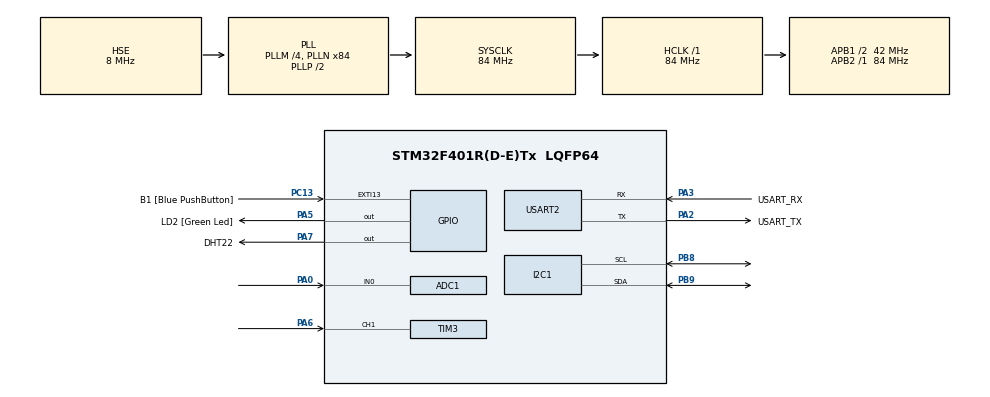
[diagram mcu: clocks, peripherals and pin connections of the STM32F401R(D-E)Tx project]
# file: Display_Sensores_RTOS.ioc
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ADC1.Channel-0\#ChannelRegularConversion=ADC_CHANNEL_0
ADC1.ContinuousConvMode=ENABLE
ADC1.DMAContinuousRequests=ENABLE
ADC1.EOCSelection=ADC_EOC_SEQ_CONV
ADC1.NbrOfConversionFlag=1
ADC1.Rank-0\#ChannelRegularConversion=1
ADC1.SamplingTime-0\#ChannelRegularConversion=ADC_SAMPLETIME_480CYCLES
ADC1.ScanConvMode=ENABLE
ADC1.master=1
Dma.ADC1.0.Direction=DMA_PERIPH_TO_MEMORY
Dma.ADC1.0.FIFOMode=DMA_FIFOMODE_DISABLE
Dma.ADC1.0.Instance=DMA2_Stream0
Dma.ADC1.0.MemDataAlignment=DMA_MDATAALIGN_WORD
Dma.ADC1.0.MemInc=DMA_MINC_ENABLE
Dma.ADC1.0.Mode=DMA_CIRCULAR
Dma.ADC1.0.PeriphDataAlignment=DMA_PDATAALIGN_WORD
Dma.ADC1.0.PeriphInc=DMA_PINC_DISABLE
Dma.ADC1.0.Priority=DMA_PRIORITY_LOW
Dma.Request0=ADC1
FREERTOS.Tasks01=defaultTask,0,128,StartDefaultTask,Default,NULL,Dynamic,NULL,NULL
FREERTOS.configUSE_NEWLIB_REENTRANT=1
I2C1.I2C_Mode=I2C_Fast
Mcu.Family=STM32F4
Mcu.Name=STM32F401R(D-E)Tx
Mcu.Package=LQFP64
NVIC.DMA2_Stream0_IRQn=true\:5\:0\:false\:false\:true\:true\:false\:true\:true
NVIC.PriorityGroup=NVIC_PRIORITYGROUP_4
NVIC.TIM1_UP_TIM10_IRQn=true\:15\:0\:false\:false\:true\:false\:false\:true\:true
NVIC.TIM2_IRQn=true\:5\:0\:false\:false\:true\:true\:true\:true\:true
NVIC.TIM3_IRQn=true\:5\:0\:false\:false\:true\:true\:true\:true\:true
NVIC.TIM4_IRQn=true\:5\:0\:false\:false\:true\:true\:true\:true\:true
NVIC.TimeBase=TIM1_UP_TIM10_IRQn
NVIC.TimeBaseIP=TIM1
PA0-WKUP.Signal=ADCx_IN0
PA13.GPIO_Label=TMS
PA13.Mode=Serial_Wire
PA13.Signal=SYS_JTMS-SWDIO
PA14.GPIO_Label=TCK
PA14.Mode=Serial_Wire
PA14.Signal=SYS_JTCK-SWCLK
PA2.GPIO_Label=USART_TX
PA2.GPIO_Mode=GPIO_MODE_AF_PP
PA2.GPIO_PuPd=GPIO_NOPULL
PA2.GPIO_Speed=GPIO_SPEED_FREQ_LOW
PA2.Mode=Asynchronous
PA2.Signal=USART2_TX
PA3.GPIO_Label=USART_RX
PA3.GPIO_Mode=GPIO_MODE_AF_PP
PA3.GPIO_PuPd=GPIO_NOPULL
PA3.GPIO_Speed=GPIO_SPEED_FREQ_LOW
PA3.Mode=Asynchronous
PA3.Signal=USART2_RX
PA5.GPIO_Label=LD2 [Green Led]
PA5.GPIO_Mode=GPIO_MODE_OUTPUT_PP
PA5.GPIO_PuPd=GPIO_NOPULL
PA5.GPIO_Speed=GPIO_SPEED_FREQ_LOW
PA5.Signal=GPIO_Output
PA6.Signal=S_TIM3_CH1
PA7.GPIO_Label=DHT22
PA7.Signal=GPIO_Output
PB3.GPIO_Label=SWO
PB3.Signal=SYS_JTDO-SWO
PB8.Mode=I2C
PB8.Signal=I2C1_SCL
PB9.Mode=I2C
PB9.Signal=I2C1_SDA
PC13-ANTI_TAMP.GPIO_Label=B1 [Blue PushButton]
PC13-ANTI_TAMP.GPIO_ModeDefaultEXTI=GPIO_MODE_IT_FALLING
PC13-ANTI_TAMP.GPIO_PuPd=GPIO_NOPULL
PC13-ANTI_TAMP.Signal=GPXTI13
PC14-OSC32_IN.Mode=LSE-External-Oscillator
PC14-OSC32_IN.Signal=RCC_OSC32_IN
PC15-OSC32_OUT.Mode=LSE-External-Oscillator
PC15-OSC32_OUT.Signal=RCC_OSC32_OUT
PH0\ -\ OSC_IN.Mode=HSE-External-Clock-Source
PH0\ -\ OSC_IN.Signal=RCC_OSC_IN
PH1\ -\ OSC_OUT.Mode=HSE-External-Clock-Source
PH1\ -\ OSC_OUT.Signal=RCC_OSC_OUT
ProjectManager.HeapSize=0x200
ProjectManager.StackSize=0x400
ProjectManager.TargetToolchain=STM32CubeIDE
RCC.48MHZClocksFreq_Value=24000000
RCC.AHBFreq_Value=84000000
RCC.APB1CLKDivider=RCC_HCLK_DIV2
RCC.APB1Freq_Value=42000000
RCC.APB1TimFreq_Value=84000000
RCC.APB2Freq_Value=84000000
RCC.APB2TimFreq_Value=84000000
RCC.CortexFreq_Value=84000000
RCC.HCLKFreq_Value=84000000
RCC.HSE_VALUE=8000000
RCC.HSI_VALUE=16000000
RCC.PLLM=4
RCC.PLLN=84
RCC.PLLQ=7
RCC.PLLSourceVirtual=RCC_PLLSOURCE_HSE
RCC.SYSCLKFreq_VALUE=84000000
RCC.SYSCLKSource=RCC_SYSCLKSOURCE_PLLCLK
RCC.VCOOutputFreq_Value=168000000
RTC.Alarm=RTC_ALARM_A
SH.ADCx_IN0.0=ADC1_IN0,IN0
SH.S_TIM3_CH1.0=TIM3_CH1,Input_Capture1_from_TI1
TIM2.AutoReloadPreload=TIM_AUTORELOAD_PRELOAD_ENABLE
TIM2.Period=2
TIM2.Prescaler=42000-1
TIM3.AutoReloadPreload=TIM_AUTORELOAD_PRELOAD_ENABLE
TIM3.Channel-Input_Capture1_from_TI1=TIM_CHANNEL_1
TIM3.ICFilter_CH1=15
TIM3.ICPolarity_CH1=TIM_INPUTCHANNELPOLARITY_BOTHEDGE
TIM3.Period=200
TIM3.Prescaler=84-1
TIM4.Period=20
TIM4.Prescaler=83
USART2.VirtualMode=VM_ASYNC
VP_FREERTOS_VS_CMSIS_V1.Mode=CMSIS_V1
VP_RTC_VS_RTC_Activate.Mode=RTC_Enabled
VP_RTC_VS_RTC_Alarm_A_Intern.Mode=Alarm A
VP_RTC_VS_RTC_Calendar.Mode=RTC_Calendar
VP_SYS_VS_tim1.Mode=TIM1
VP_TIM2_VS_ClockSourceINT.Mode=Internal
VP_TIM3_VS_ClockSourceINT.Mode=Internal
VP_TIM4_VS_ClockSourceINT.Mode=Internal
board=NUCLEO-F401RE

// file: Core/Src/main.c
/* USER CODE BEGIN Header */
/**
  ******************************************************************************
  * @file           : main.c
  * @brief          : Main program body
  ******************************************************************************
  * @attention
  *
  * Copyright (c) 2023 STMicroelectronics.
  * All rights reserved.
  *
  * This software is licensed under terms that can be found in the LICENSE file
  * in the root directory of this software component.
  * If no LICENSE file comes with this software, it is provided AS-IS.
  *
  ******************************************************************************
  */
/* USER CODE END Header */
#include "main.h"
#include "cmsis_os.h"

/* USER CODE BEGIN PTD */

typedef struct
{
	float Temperature;
	float Pressure;
	float Humidity;
	float Light;
	uint32_t AirQuality;
	float WindSpeed;
}SensedValues;

/* USER CODE END PTD */

/* USER CODE BEGIN PD */
#define CANT_PARAMETROS 6

#define MY_NETWORK "Fibertel WiFi516 2.4GHz"
#define MY_PASSWORD "00421584233"
//#define MY_NETWORK "Samsung"
//#define MY_PASSWORD "12341234"

#define THINGSPEAK_DELAY 20000 //En ms
/* USER CODE END PD */

ADC_HandleTypeDef hadc1;
DMA_HandleTypeDef hdma_adc1;

I2C_HandleTypeDef hi2c1;

RTC_HandleTypeDef hrtc;

TIM_HandleTypeDef htim2;
TIM_HandleTypeDef htim3;
TIM_HandleTypeDef htim4;

UART_HandleTypeDef huart2;

osThreadId defaultTaskHandle;
/* USER CODE BEGIN PV */

uint32_t Temp_ADC;

uint16_t readValue;

uint8_t screenBuffer[128 * 64 / 8];

uint8_t Flag_Scroll;

uint8_t Flag_Datos;

uint16_t Datos = 3000;

extern uint8_t enableCapture;

extern uint8_t start;

SemaphoreHandle_t SEM_Mediciones;

//Estructura que va a guardar todas las mediciones
SensedValues MedicionesEstacion;
float dataToSend[CANT_PARAMETROS];

//Sensor de Gas
uint32_t ConversionGasADC;

//Sensor Optico
extern uint32_t rpmCNY70;

//Sensor de Presion
extern uint8_t chipID;
extern int32_t tRaw, pRaw, hRaw;
extern uint8_t RawData[8];
float Temperature, Pressure, Humidity;

/* USER CODE END PV */

void SystemClock_Config(void);
static void MX_GPIO_Init(void);
static void MX_DMA_Init(void);
static void MX_USART2_UART_Init(void);
static void MX_I2C1_Init(void);
static void MX_TIM2_Init(void);
static void MX_RTC_Init(void);
static void MX_TIM3_Init(void);
static void MX_ADC1_Init(void);
static void MX_TIM4_Init(void);
void StartDefaultTask(void const * argument);

/* USER CODE BEGIN 0 */

void HAL_I2C_MemRxCpltCallback(I2C_HandleTypeDef *hi2c)
{
	if(hi2c == &hi2c1)
	{
		/* Calculate the Raw data for the parameters
		* Here the Pressure and Temperature are in 20 bit format and humidity in 16 bit format
		*/
		pRaw = (RawData[0]<<12)|(RawData[1]<<4)|(RawData[2]>>4);
		tRaw = (RawData[3]<<12)|(RawData[4]<<4)|(RawData[5]>>4);
		hRaw = (RawData[6]<<8)|(RawData[7]);
	}
}
/*
void HAL_TIM_IC_CaptureCallback(TIM_HandleTypeDef *htim)
{
	CNY70_FlancosUp();
}*/

void Set_Time(void)
{
	/** Initialize RTC and set the Time and Date
	*/

	RTC_TimeTypeDef sTime = {0};
	RTC_DateTypeDef sDate = {0};

	sTime.Hours = 0x0;
	sTime.Minutes = 0x0;
	sTime.Seconds = 0x0;
	sTime.DayLightSaving = RTC_DAYLIGHTSAVING_NONE;
	sTime.StoreOperation = RTC_STOREOPERATION_RESET;

	if (HAL_RTC_SetTime(&hrtc, &sTime, RTC_FORMAT_BCD) != HAL_OK)
	{
		Error_Handler();
	}

	sDate.WeekDay = RTC_WEEKDAY_MONDAY;
	sDate.Month = RTC_MONTH_JANUARY;
	sDate.Date = 0x1;
	sDate.Year = 0x0;

	if (HAL_RTC_SetDate(&hrtc, &sDate, RTC_FORMAT_BCD) != HAL_OK)
	{
		Error_Handler();
	}

	HAL_RTCEx_BKUPWrite(&hrtc, RTC_BKP_DR1, 0x32F2);
}

void Set_Alarm (void)
{

	RTC_AlarmTypeDef sAlarm = {0};

	/** Enable the Alarm A
	*/
	sAlarm.AlarmTime.Hours = 0x0;
	sAlarm.AlarmTime.Minutes = 0x0;
	sAlarm.AlarmTime.Seconds = 0x0;
	sAlarm.AlarmTime.SubSeconds = 0x0;
	sAlarm.AlarmTime.DayLightSaving = RTC_DAYLIGHTSAVING_NONE;
	sAlarm.AlarmTime.StoreOperation = RTC_STOREOPERATION_RESET;
	sAlarm.AlarmMask = RTC_ALARMMASK_NONE;
	sAlarm.AlarmSubSecondMask = RTC_ALARMSUBSECONDMASK_ALL;
	sAlarm.AlarmDateWeekDaySel = RTC_ALARMDATEWEEKDAYSEL_DATE;
	sAlarm.AlarmDateWeekDay = 0x1;
	sAlarm.Alarm = RTC_ALARM_A;

	if (HAL_RTC_SetAlarm(&hrtc, &sAlarm, RTC_FORMAT_BCD) != HAL_OK)
	{
		Error_Handler();
	}
	/* USER CODE BEGIN RTC_Init 2 */

	/* USER CODE END RTC_Init 2 */
}

void scrollUp() {
    for (int page = 0; page < 64 / 8 - 1; ++page) {
        for (int col = 0; col < 128; ++col) {
            screenBuffer[col + page * 128] = screenBuffer[col + (page + 1) * 128];
        }
    }
    // Llena la última página con nuevos datos (ajusta esto según tus necesidades)
    for (int col = 0; col < 128; ++col) {
        screenBuffer[col + (64 / 8 - 1) * 128] = 0xFF;
    }
    ssd1306_UpdateScreen();
}

void Task_Data_Display (void *pvParameters)
{
	//vTaskPrioritySet(Task_ReadSensors, tskIDLE_PRIORITY + 2);

	ssd1306_Init();

	if (HAL_RTCEx_BKUPRead(&hrtc, RTC_BKP_DR1))
	{
	  Set_Time();
	}

	Set_Alarm();

	for (int i = 0; i < 128 * 64 / 8; ++i) {
		 screenBuffer[i] = 0xFF;
	}

	HAL_TIM_Base_Start_IT(&htim2);

	while(1)
	{
		Mostrar_Datos();
	}
}

void Task_ReadSensors(void *pvParam)
{
	HAL_TIM_Base_Start_IT(&htim4);
	HAL_ADC_Start_DMA(&hadc1, &Temp_ADC, 1);

	//Chequear esto de abajo para que coincida con el IOC
	HAL_ADC_Start_DMA(&hadc1, &ConversionGasADC, 1);
	HAL_TIM_IC_Start_IT(&htim2, TIM_CHANNEL_3);
	HAL_TIM_Base_Start_IT(&htim3);

	while(1)
	{
		xSemaphoreTake(SEM_Mediciones, portMAX_DELAY);
		BME280_Measure();
		MedicionesEstacion.Pressure = Pressure;
		BH1750_ReadLight(&MedicionesEstacion.Light);
		MedicionesEstacion.AirQuality= MQ135_NivelContaminacion(ConversionGasADC);
		MedicionesEstacion.WindSpeed= CNY70_MedicionVelocidad(rpmCNY70);
		MedicionesEstacion.Temperature = LM35_Read_Temperature(Temp_ADC);
		DHT22_Read_Humidity(&MedicionesEstacion.Humidity);

		xSemaphoreGive(SEM_Mediciones);
		vTaskDelay(pdMS_TO_TICKS(1000));
	}
}

void Task_SendDataToThingspeak(void *pvParam)
{
	//Esta tarea debe ejecutarse cada 15segs como maximo
	vTaskDelay(pdMS_TO_TICKS(5000)); //Evito que entre primero esta tarea

	while(1)
	{
		xSemaphoreTake(SEM_Mediciones, portMAX_DELAY);
		dataToSend[0]= round(MedicionesEstacion.Temperature * 100)/100;
		dataToSend[1]= round(MedicionesEstacion.Humidity * 100)/100;
		dataToSend[2]= round(MedicionesEstacion.Pressure * 100)/100;
		dataToSend[3]= round(MedicionesEstacion.WindSpeed * 100)/100;
		dataToSend[4]= round(MedicionesEstacion.Light * 100)/100;
		dataToSend[5]= round(MedicionesEstacion.AirQuality * 100)/100;

		xSemaphoreGive(SEM_Mediciones);
		ESP_Send_Multi("GZ88XIL7XS30EM51", CANT_PARAMETROS, dataToSend);

		vTaskDelay(pdMS_TO_TICKS(THINGSPEAK_DELAY));
	}
}

/* USER CODE END 0 */

int main(void)
{

  /* MCU Configuration--------------------------------------------------------*/

  /* Reset of all peripherals, Initializes the Flash interface and the Systick. */
  HAL_Init();

  /* Configure the system clock */
  SystemClock_Config();

  /* Initialize all configured peripherals */
  MX_GPIO_Init();
  MX_DMA_Init();
  MX_USART2_UART_Init();
  MX_I2C1_Init();
  MX_TIM2_Init();
  MX_RTC_Init();
  MX_TIM3_Init();
  MX_ADC1_Init();
  MX_TIM4_Init();
  /* USER CODE BEGIN 2 */

  //Inicializacion BH1750
  BH1750_Init(&hi2c1);
  BH1750_SetMode(CONTINUOUS_HIGH_RES_MODE);

  //Inicializacion BMP280
  BME280_Config(OSRS_1, OSRS_4, OSRS_1, MODE_NORMAL, T_SB_0p5, IIR_16);

  //Inicializacion ESP01
  ESP_Init(MY_NETWORK, MY_PASSWORD);

  /* USER CODE END 2 */

  /* USER CODE BEGIN RTOS_SEMAPHORES */
  /* add semaphores, ... */

  SEM_Mediciones= xSemaphoreCreateBinary();
  xSemaphoreTake(SEM_Mediciones, 0);
  xSemaphoreGive(SEM_Mediciones);

  /* USER CODE END RTOS_SEMAPHORES */

  /* Create the thread(s) */
  /* definition and creation of defaultTask */
#if 0
  osThreadDef(defaultTask, StartDefaultTask, osPriorityNormal, 0, 128);
  defaultTaskHandle = osThreadCreate(osThread(defaultTask), NULL);
#endif

  /* USER CODE BEGIN RTOS_THREADS */

  xTaskCreate(Task_Data_Display, "Data_Display", configMINIMAL_STACK_SIZE * 3, NULL, tskIDLE_PRIORITY + 1, NULL);
  xTaskCreate(Task_ReadSensors, "ReadSensors", configMINIMAL_STACK_SIZE, NULL, tskIDLE_PRIORITY + 1, NULL);
  xTaskCreate(Task_SendDataToThingspeak, "SendDataToThingspeak", configMINIMAL_STACK_SIZE*5, NULL, tskIDLE_PRIORITY + 2, NULL);

  vTaskStartScheduler();

  /* USER CODE END RTOS_THREADS */

  /* Start scheduler */

#if 0
  osKernelStart();
#endif

  /* We should never get here as control is now taken by the scheduler */
  /* Infinite loop */
  while (1)
  {

  }
}

void SystemClock_Config(void)
{
  RCC_OscInitTypeDef RCC_OscInitStruct = {0};
  RCC_ClkInitTypeDef RCC_ClkInitStruct = {0};

  /** Configure the main internal regulator output voltage
  */
  __HAL_RCC_PWR_CLK_ENABLE();
  __HAL_PWR_VOLTAGESCALING_CONFIG(PWR_REGULATOR_VOLTAGE_SCALE2);

  /** Initializes the RCC Oscillators according to the specified parameters
  * in the RCC_OscInitTypeDef structure.
  */
  RCC_OscInitStruct.OscillatorType = RCC_OSCILLATORTYPE_LSI|RCC_OSCILLATORTYPE_HSE;
  RCC_OscInitStruct.HSEState = RCC_HSE_BYPASS;
  RCC_OscInitStruct.LSIState = RCC_LSI_ON;
  RCC_OscInitStruct.PLL.PLLState = RCC_PLL_ON;
  RCC_OscInitStruct.PLL.PLLSource = RCC_PLLSOURCE_HSE;
  RCC_OscInitStruct.PLL.PLLM = 4;
  RCC_OscInitStruct.PLL.PLLN = 84;
  RCC_OscInitStruct.PLL.PLLP = RCC_PLLP_DIV2;
  RCC_OscInitStruct.PLL.PLLQ = 7;
  if (HAL_RCC_OscConfig(&RCC_OscInitStruct) != HAL_OK)
  {
    Error_Handler();
  }

  /** Initializes the CPU, AHB and APB buses clocks
  */
  RCC_ClkInitStruct.ClockType = RCC_CLOCKTYPE_HCLK|RCC_CLOCKTYPE_SYSCLK
                              |RCC_CLOCKTYPE_PCLK1|RCC_CLOCKTYPE_PCLK2;
  RCC_ClkInitStruct.SYSCLKSource = RCC_SYSCLKSOURCE_PLLCLK;
  RCC_ClkInitStruct.AHBCLKDivider = RCC_SYSCLK_DIV1;
  RCC_ClkInitStruct.APB1CLKDivider = RCC_HCLK_DIV2;
  RCC_ClkInitStruct.APB2CLKDivider = RCC_HCLK_DIV1;

  if (HAL_RCC_ClockConfig(&RCC_ClkInitStruct, FLASH_LATENCY_2) != HAL_OK)
  {
    Error_Handler();
  }
}

static void MX_ADC1_Init(void)
{

  ADC_ChannelConfTypeDef sConfig = {0};

  /** Configure the global features of the ADC (Clock, Resolution, Data Alignment and number of conversion)
  */
  hadc1.Instance = ADC1;
  hadc1.Init.ClockPrescaler = ADC_CLOCK_SYNC_PCLK_DIV4;
  hadc1.Init.Resolution = ADC_RESOLUTION_12B;
  hadc1.Init.ScanConvMode = ENABLE;
  hadc1.Init.ContinuousConvMode = ENABLE;
  hadc1.Init.DiscontinuousConvMode = DISABLE;
  hadc1.Init.ExternalTrigConvEdge = ADC_EXTERNALTRIGCONVEDGE_NONE;
  hadc1.Init.ExternalTrigConv = ADC_SOFTWARE_START;
  hadc1.Init.DataAlign = ADC_DATAALIGN_RIGHT;
  hadc1.Init.NbrOfConversion = 1;
  hadc1.Init.DMAContinuousRequests = ENABLE;
  hadc1.Init.EOCSelection = ADC_EOC_SEQ_CONV;
  if (HAL_ADC_Init(&hadc1) != HAL_OK)
  {
    Error_Handler();
  }

  /** Configure for the selected ADC regular channel its corresponding rank in the sequencer and its sample time.
  */
  sConfig.Channel = ADC_CHANNEL_0;
  sConfig.Rank = 1;
  sConfig.SamplingTime = ADC_SAMPLETIME_480CYCLES;
  if (HAL_ADC_ConfigChannel(&hadc1, &sConfig) != HAL_OK)
  {
    Error_Handler();
  }

}

static void MX_I2C1_Init(void)
{

  hi2c1.Instance = I2C1;
  hi2c1.Init.ClockSpeed = 400000;
  hi2c1.Init.DutyCycle = I2C_DUTYCYCLE_2;
  hi2c1.Init.OwnAddress1 = 0;
  hi2c1.Init.AddressingMode = I2C_ADDRESSINGMODE_7BIT;
  hi2c1.Init.DualAddressMode = I2C_DUALADDRESS_DISABLE;
  hi2c1.Init.OwnAddress2 = 0;
  hi2c1.Init.GeneralCallMode = I2C_GENERALCALL_DISABLE;
  hi2c1.Init.NoStretchMode = I2C_NOSTRETCH_DISABLE;
  if (HAL_I2C_Init(&hi2c1) != HAL_OK)
  {
    Error_Handler();
  }

}

static void MX_RTC_Init(void)
{

  RTC_TimeTypeDef sTime = {0};
  RTC_DateTypeDef sDate = {0};
  RTC_AlarmTypeDef sAlarm = {0};

  /** Initialize RTC Only
  */
  hrtc.Instance = RTC;
  hrtc.Init.HourFormat = RTC_HOURFORMAT_24;
  hrtc.Init.AsynchPrediv = 127;
  hrtc.Init.SynchPrediv = 255;
  hrtc.Init.OutPut = RTC_OUTPUT_DISABLE;
  hrtc.Init.OutPutPolarity = RTC_OUTPUT_POLARITY_HIGH;
  hrtc.Init.OutPutType = RTC_OUTPUT_TYPE_OPENDRAIN;
  if (HAL_RTC_Init(&hrtc) != HAL_OK)
  {
    Error_Handler();
  }

  /** Initialize RTC and set the Time and Date
  */
  sTime.Hours = 0x0;
  sTime.Minutes = 0x0;
  sTime.Seconds = 0x0;
  sTime.DayLightSaving = RTC_DAYLIGHTSAVING_NONE;
  sTime.StoreOperation = RTC_STOREOPERATION_RESET;
  if (HAL_RTC_SetTime(&hrtc, &sTime, RTC_FORMAT_BCD) != HAL_OK)
  {
    Error_Handler();
  }
  sDate.WeekDay = RTC_WEEKDAY_MONDAY;
  sDate.Month = RTC_MONTH_JANUARY;
  sDate.Date = 0x1;
  sDate.Year = 0x0;

  if (HAL_RTC_SetDate(&hrtc, &sDate, RTC_FORMAT_BCD) != HAL_OK)
  {
    Error_Handler();
  }

  /** Enable the Alarm A
  */
  sAlarm.AlarmTime.Hours = 0x0;
  sAlarm.AlarmTime.Minutes = 0x0;
  sAlarm.AlarmTime.Seconds = 0x0;
  sAlarm.AlarmTime.SubSeconds = 0x0;
  sAlarm.AlarmTime.DayLightSaving = RTC_DAYLIGHTSAVING_NONE;
  sAlarm.AlarmTime.StoreOperation = RTC_STOREOPERATION_RESET;
  sAlarm.AlarmMask = RTC_ALARMMASK_NONE;
  sAlarm.AlarmSubSecondMask = RTC_ALARMSUBSECONDMASK_ALL;
  sAlarm.AlarmDateWeekDaySel = RTC_ALARMDATEWEEKDAYSEL_DATE;
  sAlarm.AlarmDateWeekDay = 0x1;
  sAlarm.Alarm = RTC_ALARM_A;
  if (HAL_RTC_SetAlarm(&hrtc, &sAlarm, RTC_FORMAT_BCD) != HAL_OK)
  {
    Error_Handler();
  }

}

static void MX_TIM2_Init(void)
{

  TIM_ClockConfigTypeDef sClockSourceConfig = {0};
  TIM_MasterConfigTypeDef sMasterConfig = {0};

  htim2.Instance = TIM2;
  htim2.Init.Prescaler = 42000-1;
  htim2.Init.CounterMode = TIM_COUNTERMODE_UP;
  htim2.Init.Period = 2;
  htim2.Init.ClockDivision = TIM_CLOCKDIVISION_DIV1;
  htim2.Init.AutoReloadPreload = TIM_AUTORELOAD_PRELOAD_ENABLE;
  if (HAL_TIM_Base_Init(&htim2) != HAL_OK)
  {
    Error_Handler();
  }
  sClockSourceConfig.ClockSource = TIM_CLOCKSOURCE_INTERNAL;
  if (HAL_TIM_ConfigClockSource(&htim2, &sClockSourceConfig) != HAL_OK)
  {
    Error_Handler();
  }
  sMasterConfig.MasterOutputTrigger = TIM_TRGO_RESET;
  sMasterConfig.MasterSlaveMode = TIM_MASTERSLAVEMODE_DISABLE;
  if (HAL_TIMEx_MasterConfigSynchronization(&htim2, &sMasterConfig) != HAL_OK)
  {
    Error_Handler();
  }

}

static void MX_TIM3_Init(void)
{

  TIM_ClockConfigTypeDef sClockSourceConfig = {0};
  TIM_MasterConfigTypeDef sMasterConfig = {0};
  TIM_IC_InitTypeDef sConfigIC = {0};

  htim3.Instance = TIM3;
  htim3.Init.Prescaler = 84-1;
  htim3.Init.CounterMode = TIM_COUNTERMODE_UP;
  htim3.Init.Period = 200;
  htim3.Init.ClockDivision = TIM_CLOCKDIVISION_DIV1;
  htim3.Init.AutoReloadPreload = TIM_AUTORELOAD_PRELOAD_ENABLE;
  if (HAL_TIM_Base_Init(&htim3) != HAL_OK)
  {
    Error_Handler();
  }
  sClockSourceConfig.ClockSource = TIM_CLOCKSOURCE_INTERNAL;
  if (HAL_TIM_ConfigClockSource(&htim3, &sClockSourceConfig) != HAL_OK)
  {
    Error_Handler();
  }
  if (HAL_TIM_IC_Init(&htim3) != HAL_OK)
  {
    Error_Handler();
  }
  sMasterConfig.MasterOutputTrigger = TIM_TRGO_RESET;
  sMasterConfig.MasterSlaveMode = TIM_MASTERSLAVEMODE_DISABLE;
  if (HAL_TIMEx_MasterConfigSynchronization(&htim3, &sMasterConfig) != HAL_OK)
  {
    Error_Handler();
  }
  sConfigIC.ICPolarity = TIM_INPUTCHANNELPOLARITY_BOTHEDGE;
  sConfigIC.ICSelection = TIM_ICSELECTION_DIRECTTI;
  sConfigIC.ICPrescaler = TIM_ICPSC_DIV1;
  sConfigIC.ICFilter = 15;
  if (HAL_TIM_IC_ConfigChannel(&htim3, &sConfigIC, TIM_CHANNEL_1) != HAL_OK)
  {
    Error_Handler();
  }

}

static void MX_TIM4_Init(void)
{

  TIM_ClockConfigTypeDef sClockSourceConfig = {0};
  TIM_MasterConfigTypeDef sMasterConfig = {0};

  htim4.Instance = TIM4;
  htim4.Init.Prescaler = 83;
  htim4.Init.CounterMode = TIM_COUNTERMODE_UP;
  htim4.Init.Period = 20;
  htim4.Init.ClockDivision = TIM_CLOCKDIVISION_DIV1;
  htim4.Init.AutoReloadPreload = TIM_AUTORELOAD_PRELOAD_DISABLE;
  if (HAL_TIM_Base_Init(&htim4) != HAL_OK)
  {
    Error_Handler();
  }
  sClockSourceConfig.ClockSource = TIM_CLOCKSOURCE_INTERNAL;
  if (HAL_TIM_ConfigClockSource(&htim4, &sClockSourceConfig) != HAL_OK)
  {
    Error_Handler();
  }
  sMasterConfig.MasterOutputTrigger = TIM_TRGO_RESET;
  sMasterConfig.MasterSlaveMode = TIM_MASTERSLAVEMODE_DISABLE;
  if (HAL_TIMEx_MasterConfigSynchronization(&htim4, &sMasterConfig) != HAL_OK)
  {
    Error_Handler();
  }

}

static void MX_USART2_UART_Init(void)
{

  huart2.Instance = USART2;
  huart2.Init.BaudRate = 115200;
  huart2.Init.WordLength = UART_WORDLENGTH_8B;
  huart2.Init.StopBits = UART_STOPBITS_1;
  huart2.Init.Parity = UART_PARITY_NONE;
  huart2.Init.Mode = UART_MODE_TX_RX;
  huart2.Init.HwFlowCtl = UART_HWCONTROL_NONE;
  huart2.Init.OverSampling = UART_OVERSAMPLING_16;
  if (HAL_UART_Init(&huart2) != HAL_OK)
  {
    Error_Handler();
  }

}

static void MX_DMA_Init(void)
{

  /* DMA controller clock enable */
  __HAL_RCC_DMA2_CLK_ENABLE();

  /* DMA interrupt init */
  /* DMA2_Stream0_IRQn interrupt configuration */
  HAL_NVIC_SetPriority(DMA2_Stream0_IRQn, 5, 0);
  HAL_NVIC_EnableIRQ(DMA2_Stream0_IRQn);

}

static void MX_GPIO_Init(void)
{
  GPIO_InitTypeDef GPIO_InitStruct = {0};

  /* GPIO Ports Clock Enable */
  __HAL_RCC_GPIOC_CLK_ENABLE();
  __HAL_RCC_GPIOH_CLK_ENABLE();
  __HAL_RCC_GPIOA_CLK_ENABLE();
  __HAL_RCC_GPIOB_CLK_ENABLE();

  /*Configure GPIO pin Output Level */
  HAL_GPIO_WritePin(GPIOA, LD2_Pin|DHT22_Pin, GPIO_PIN_RESET);

  /*Configure GPIO pin : B1_Pin */
  GPIO_InitStruct.Pin = B1_Pin;
  GPIO_InitStruct.Mode = GPIO_MODE_IT_FALLING;
  GPIO_InitStruct.Pull = GPIO_NOPULL;
  HAL_GPIO_Init(B1_GPIO_Port, &GPIO_InitStruct);

  /*Configure GPIO pins : LD2_Pin DHT22_Pin */
  GPIO_InitStruct.Pin = LD2_Pin|DHT22_Pin;
  GPIO_InitStruct.Mode = GPIO_MODE_OUTPUT_PP;
  GPIO_InitStruct.Pull = GPIO_NOPULL;
  GPIO_InitStruct.Speed = GPIO_SPEED_FREQ_LOW;
  HAL_GPIO_Init(GPIOA, &GPIO_InitStruct);

}

void StartDefaultTask(void const * argument)
{
  for(;;)
  {
    osDelay(1);
  }
}

void HAL_TIM_PeriodElapsedCallback(TIM_HandleTypeDef *htim)
{
  if (htim->Instance == TIM1) {
    HAL_IncTick();
  }
  /* USER CODE BEGIN Callback 1 */

  if (htim->Instance == TIM2)
  {
	static uint8_t Scroll = 20;

	Scroll--;
	if(!Scroll)
	{
		Flag_Scroll = 1;
		Scroll = 1;
	}

	Datos--;
	if(!Datos)
	{
		Flag_Datos = 1;
	}
  }

  static uint32_t contador_20us = 0, contador_2000us = 0;

  	if(htim->Instance == TIM4)
  	{
  		if(start == 1)
  		{
  			contador_20us++;
  		}

  		if(contador_20us >= 1)
  		{
  			Set_Pin_Input(DHT22_GPIO_Port, DHT22_Pin);
  			contador_20us = 0;

  			start = 0;

  			enableCapture = 1;
  			HAL_TIM_IC_Start_IT(&htim3, TIM_CHANNEL_1);
  			HAL_TIM_Base_Stop_IT(&htim4);
  		}

  		if(!start)
  		{
  			//Set_Pin_Output(DHT22_GPIO_Port, DHT22_Pin);
  			HAL_GPIO_WritePin (DHT22_GPIO_Port, DHT22_Pin, 0);   // pull the pin low
  			contador_2000us++;
  		}

  		if(contador_2000us >= 100)
  		{
  			HAL_GPIO_WritePin (DHT22_GPIO_Port, DHT22_Pin, 1);   // pull the pin high

  			contador_2000us = 0;

  			start = 1;
  		}
  	}

  /* USER CODE END Callback 1 */
}

void Error_Handler(void)
{
  __disable_irq();
  while (1)
  {
  }
}
